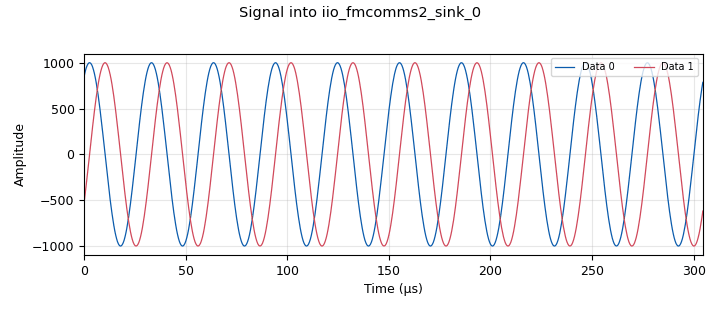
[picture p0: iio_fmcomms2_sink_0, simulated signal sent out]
<?xml version='1.0' encoding='utf-8'?>
<?grc format='1' created='3.8.git'?>
<flow_graph>
<block>
<key>options</key>
<param><key>id</key><value>top_block</value></param>
<param><key>category</key><value>Custom</value></param>
<param><key>generate_options</key><value>qt_gui</value></param>
<param><key>realtime_scheduling</key><value>1</value></param>
</block>
<block>
<key>variable</key>
<param><key>id</key><value>period_samples</value></param>
<param><key>value</key><value>0x8000</value></param>
</block>
<block>
<key>variable</key>
<param><key>id</key><value>samp_rate</value></param>
<param><key>value</key><value>2200000</value></param>
</block>
<block>
<key>analog_sig_source_x</key>
<param><key>id</key><value>analog_sig_source_x_0</value></param>
<param><key>amp</key><value>1000</value></param>
<param><key>freq</key><value>period_samples</value></param>
<param><key>offset</key><value>0</value></param>
<param><key>type</key><value>complex</value></param>
<param><key>samp_rate</key><value>samp_rate</value></param>
<param><key>waveform</key><value>analog.GR_SIN_WAVE</value></param>
</block>
<block>
<key>blocks_complex_to_float</key>
<param><key>id</key><value>blocks_complex_to_float_0</value></param>
</block>
<block>
<key>blocks_float_to_complex</key>
<param><key>id</key><value>blocks_float_to_complex_0</value></param>
</block>
<block>
<key>blocks_float_to_short</key>
<param><key>id</key><value>blocks_float_to_short_0</value></param>
<param><key>scale</key><value>1</value></param>
</block>
<block>
<key>blocks_float_to_short</key>
<param><key>id</key><value>blocks_float_to_short_0_0</value></param>
<param><key>scale</key><value>1</value></param>
</block>
<block>
<key>blocks_short_to_float</key>
<param><key>id</key><value>blocks_short_to_float_0</value></param>
<param><key>scale</key><value>1</value></param>
</block>
<block>
<key>blocks_short_to_float</key>
<param><key>id</key><value>blocks_short_to_float_0_0</value></param>
<param><key>scale</key><value>1</value></param>
</block>
<block>
<key>iio_fmcomms2_sink</key>
<param><key>id</key><value>iio_fmcomms2_sink_0</value></param>
<param><key>buffer_size</key><value>period_samples</value></param>
<param><key>ch1_en</key><value>True</value></param>
<param><key>ch2_en</key><value>True</value></param>
<param><key>ch3_en</key><value>False</value></param>
<param><key>ch4_en</key><value>False</value></param>
<param><key>cyclic</key><value>True</value></param>
<param><key>uri</key><value>uri</value></param>
<param><key>interpolation</key><value>1</value></param>
<param><key>frequency</key><value>2400000000</value></param>
<param><key>rf_port_select</key><value>"A"</value></param>
<param><key>bandwidth</key><value>200000</value></param>
<param><key>samplerate</key><value>samp_rate</value></param>
</block>
<block>
<key>iio_fmcomms2_source</key>
<param><key>id</key><value>iio_fmcomms2_source_0</value></param>
<param><key>bbdc</key><value>True</value></param>
<param><key>buffer_size</key><value>0x8000</value></param>
<param><key>ch1_en</key><value>True</value></param>
<param><key>ch2_en</key><value>True</value></param>
<param><key>ch3_en</key><value>False</value></param>
<param><key>ch4_en</key><value>False</value></param>
<param><key>decimation</key><value>1</value></param>
<param><key>gain1</key><value>"manual"</value></param>
<param><key>gain2</key><value>"manual"</value></param>
<param><key>uri</key><value>uri</value></param>
<param><key>frequency</key><value>2400000000</value></param>
<param><key>manual_gain1</key><value>64.0</value></param>
<param><key>manual_gain2</key><value>64.0</value></param>
<param><key>quadrature</key><value>True</value></param>
<param><key>rfdc</key><value>True</value></param>
<param><key>rf_port_select</key><value>"A_BALANCED"</value></param>
<param><key>bandwidth</key><value>200000</value></param>
<param><key>samplerate</key><value>samp_rate</value></param>
</block>
<block>
<key>qtgui_sink_x</key>
<param><key>id</key><value>qtgui_sink_x_0</value></param>
<param><key>bw</key><value>samp_rate</value></param>
<param><key>fc</key><value>2400000000</value></param>
<param><key>freqchangevar</key><value>None</value></param>
<param><key>fftsize</key><value>1024</value></param>
<param><key>showports</key><value>True</value></param>
<param><key>type</key><value>complex</value></param>
<param><key>wintype</key><value>firdes.WIN_BLACKMAN_hARRIS</value></param>
</block>
<block>
<key>parameter</key>
<param><key>id</key><value>uri</value></param>
<param><key>label</key><value>URI</value></param>
<param><key>type</key><value>string</value></param>
<param><key>value</key><value>'ip:analog.local'</value></param>
</block>
<connection><source_block_id>analog_sig_source_x_0</source_block_id><sink_block_id>blocks_complex_to_float_0</sink_block_id><source_key>0</source_key><sink_key>0</sink_key></connection>
<connection><source_block_id>blocks_complex_to_float_0</source_block_id><sink_block_id>blocks_float_to_short_0_0</sink_block_id><source_key>1</source_key><sink_key>0</sink_key></connection>
<connection><source_block_id>blocks_complex_to_float_0</source_block_id><sink_block_id>blocks_float_to_short_0</sink_block_id><source_key>0</source_key><sink_key>0</sink_key></connection>
<connection><source_block_id>blocks_float_to_complex_0</source_block_id><sink_block_id>qtgui_sink_x_0</sink_block_id><source_key>0</source_key><sink_key>0</sink_key></connection>
<connection><source_block_id>blocks_float_to_short_0</source_block_id><sink_block_id>iio_fmcomms2_sink_0</sink_block_id><source_key>0</source_key><sink_key>0</sink_key></connection>
<connection><source_block_id>blocks_float_to_short_0_0</source_block_id><sink_block_id>iio_fmcomms2_sink_0</sink_block_id><source_key>0</source_key><sink_key>1</sink_key></connection>
<connection><source_block_id>blocks_short_to_float_0</source_block_id><sink_block_id>blocks_float_to_complex_0</sink_block_id><source_key>0</source_key><sink_key>0</sink_key></connection>
<connection><source_block_id>blocks_short_to_float_0_0</source_block_id><sink_block_id>blocks_float_to_complex_0</sink_block_id><source_key>0</source_key><sink_key>1</sink_key></connection>
<connection><source_block_id>iio_fmcomms2_source_0</source_block_id><sink_block_id>blocks_short_to_float_0</sink_block_id><source_key>0</source_key><sink_key>0</sink_key></connection>
<connection><source_block_id>iio_fmcomms2_source_0</source_block_id><sink_block_id>blocks_short_to_float_0_0</sink_block_id><source_key>1</source_key><sink_key>0</sink_key></connection>
</flow_graph>
